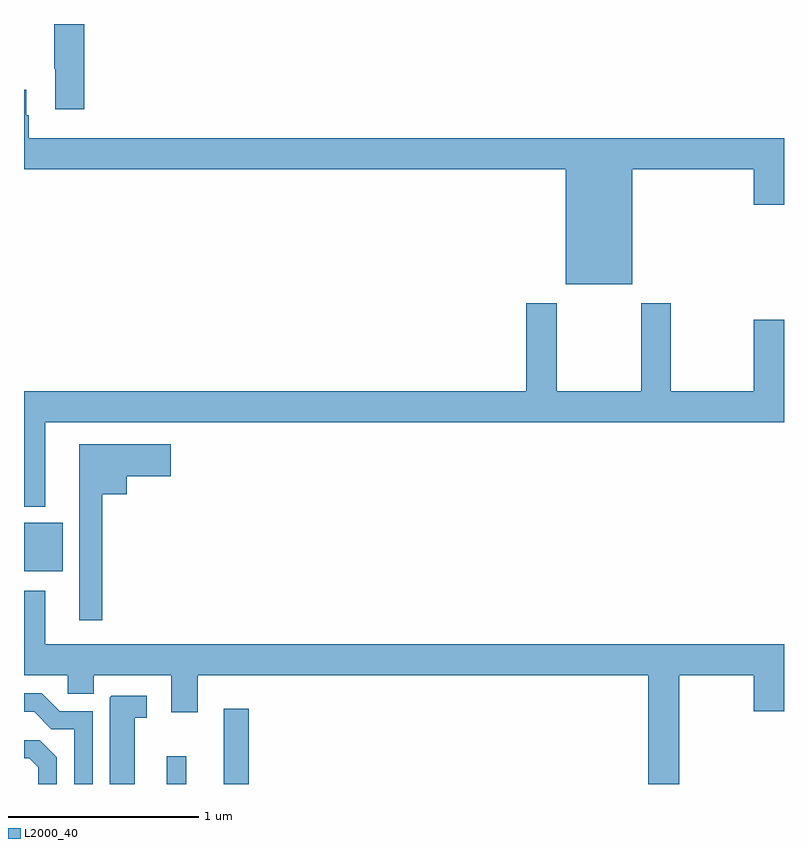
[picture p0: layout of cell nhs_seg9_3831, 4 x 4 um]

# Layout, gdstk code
import gdstk
lib = gdstk.Library(unit=1e-6, precision=1e-09)
def R(c, l, rs):  # rectangles x0, y0, x1, y1
    for r in rs: c.add(gdstk.rectangle(r[:2], r[2:], *l))
def P(c, l, *ps):  # polygons
    for p in ps: c.add(gdstk.Polygon(p, *l))
L2000_40 = (2000, 40)

nhs_seg9_3831 = lib.new_cell('nhs_seg9_3831')
R(nhs_seg9_3831, L2000_40, [(329.75,1210.5,329.854,1210.645), (330.05,1210.5,330.182,1210.897), (329,1211.621,329.203,1211.875)])
P(nhs_seg9_3831, L2000_40, [(329.318,1214.5),(329.158,1214.5),(329.158,1214.264),(329.165,1214.264),(329.165,1214.052),(329.318,1214.052)],
  [(332.2,1213.736),(332.84,1213.736),(332.84,1213.548),(333,1213.548),(333,1213.9),(329.024,1213.9),(329.024,1214.019),(329.011,1214.019),(329.011,1214.155),(329,1214.155),(329,1213.736),(331.85,1213.736),(331.85,1213.13),(332.2,1213.13)],
  [(329.113,1212.404),(333,1212.404),(333,1212.943),(332.84,1212.943),(332.84,1212.568),(332.403,1212.568),(332.403,1213.03),(332.248,1213.03),(332.248,1212.568),(331.803,1212.568),(331.803,1213.03),(331.643,1213.03),(331.643,1212.568),(329,1212.568),(329,1211.96),(329.113,1211.96)],
  [(329.413,1212.026),(329.542,1212.026),(329.542,1212.119),(329.773,1212.119),(329.773,1212.289),(329.291,1212.289),(329.291,1211.361),(329.413,1211.361)],
  [(332.449,1211.072),(332.84,1211.072),(332.84,1210.884),(333,1210.884),(333,1211.236),(329.113,1211.236),(329.113,1211.518),(329,1211.518),(329,1211.072),(329.229,1211.072),(329.229,1210.974),(329.368,1210.974),(329.368,1211.072),(329.774,1211.072),(329.774,1210.878),(329.914,1210.878),(329.914,1211.072),(332.285,1211.072),(332.285,1210.5),(332.449,1210.5)],
  [(329.361,1210.884),(329.187,1210.884),(329.094,1210.977),(329,1210.977),(329,1210.88),(329.053,1210.88),(329.144,1210.789),(329.265,1210.789),(329.265,1210.5),(329.361,1210.5)],
  [(329.584,1210.849),(329.647,1210.849),(329.647,1210.965),(329.46,1210.965),(329.45,1210.955),(329.45,1210.5),(329.584,1210.5)],
  [(329.172,1210.641),(329.083,1210.73),(329,1210.73),(329,1210.635),(329.028,1210.635),(329.076,1210.587),(329.076,1210.5),(329.172,1210.5)])

lib.write_gds('nhs_seg9_3831.gds')
